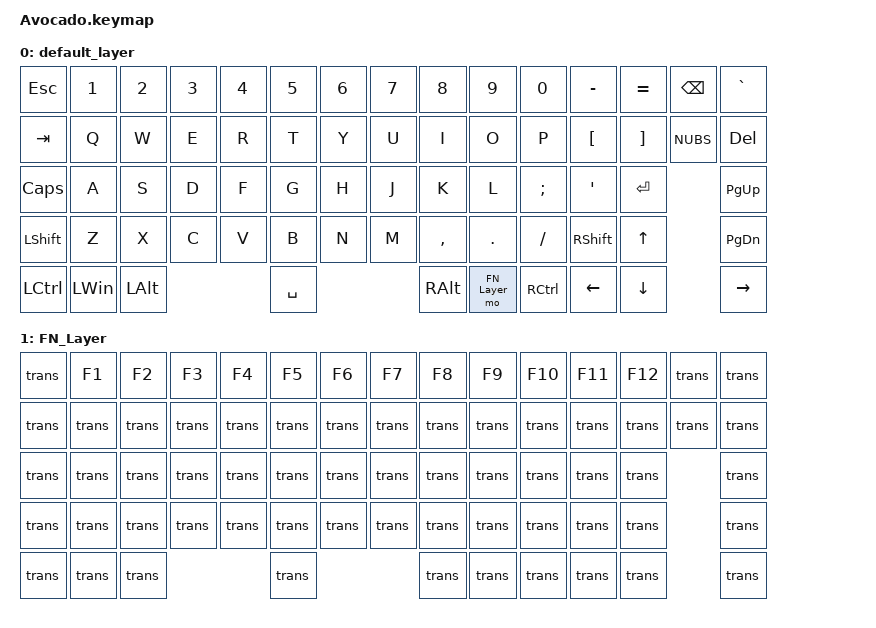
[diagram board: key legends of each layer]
#include <behaviors.dtsi>
#include <dt-bindings/zmk/keys.h>
#include <dt-bindings/zmk/bt.h>

#define FN_Layer

/ {
    keymap {
        compatible = "zmk,keymap";

        default_layer {
            bindings = <
                
                &kp ESC &kp N1 &kp N2 &kp N3 &kp N4 &kp N5 &kp N6 &kp N7 &kp N8 &kp N9 &kp N0 &kp MINUS &kp EQUAL &kp BSPC &kp GRAVE
                
                &kp TAB &kp Q &kp W &kp E &kp R &kp T &kp Y &kp U &kp I &kp O &kp P &kp LBKT &kp RBKT &kp NUBS &kp DEL
                
                &kp CAPS &kp A &kp S &kp D &kp F &kp G &kp H &kp J &kp K &kp L &kp SEMI &kp APOS &kp ENTER &kp PG_UP
                
                &kp LSHFT &kp Z &kp X &kp C &kp V &kp B &kp N &kp M &kp COMMA &kp DOT &kp FSLH &kp RSHFT &kp UP &kp PG_DN

                &kp LCTRL &kp LWIN &kp LALT &kp SPACE &kp RALT &mo FN_Layer &kp RCTRL &kp LEFT &kp DOWN &kp RIGHT
            >;
        };

        FN_Layer{
            bindings = <
                &kp trans &kp F1    &kp F2    &kp F3    &kp F4    &kp F5    &kp F6    &kp F7    &kp F8    &kp F9    &kp F10   &kp F11   &kp F12   &kp trans &kp trans
                &kp trans &kp trans &kp trans &kp trans &kp trans &kp trans &kp trans &kp trans &kp trans &kp trans &kp trans &kp trans &kp trans &kp trans &kp trans
                &kp trans &kp trans &kp trans &kp trans &kp trans &kp trans &kp trans &kp trans &kp trans &kp trans &kp trans &kp trans &kp trans           &kp trans
                &kp trans &kp trans &kp trans &kp trans &kp trans &kp trans &kp trans &kp trans &kp trans &kp trans &kp trans &kp trans &kp trans           &kp trans
                &kp trans &kp trans &kp trans                     &kp trans                     &kp trans &kp trans &kp trans &kp trans &kp trans           &kp trans
            
            
            >;
        };
    };
};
